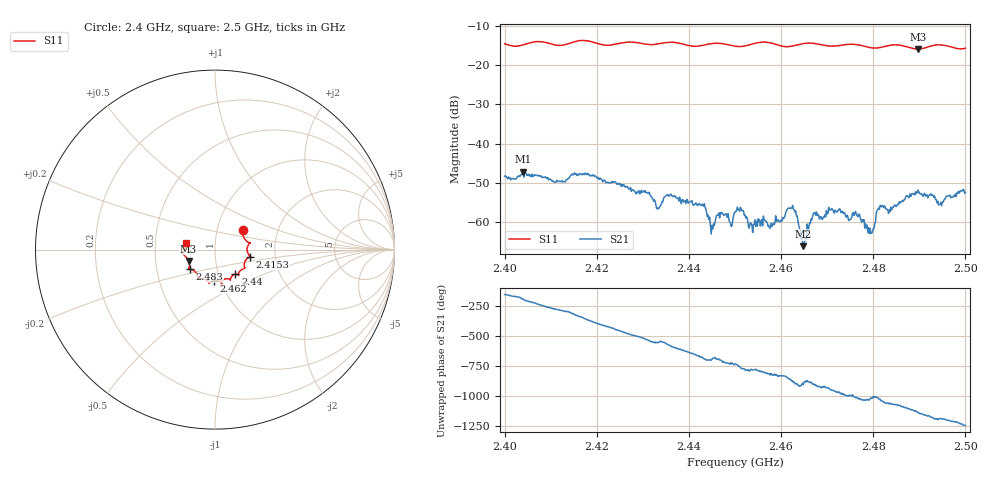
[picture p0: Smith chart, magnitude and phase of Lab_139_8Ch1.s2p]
# Hz S RI R 50
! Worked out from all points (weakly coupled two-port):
!   601 points, 2.4 GHz to 2.5 GHz, reference 50 ohm
!   highest |S21| = -47.09 dB at 2.404 GHz (marker M1); lowest = -66.1 dB at 2.4648 GHz (marker M2)
!   lowest |S11| = -15.9 dB at 2.4897 GHz (marker M3), VSWR 1.38, Z = 36.9 - j4.81 ohm
!   |S11| at or under -10 dB: start of sweep to end of sweep
!   S12 and S22 are empty: the file has one direction only
!   S11 on the Smith chart (normalised r, x): 2.4 GHz: 1.33, +0.29; 2.4153 GHz: 1.48, -0.12; 2.44 GHz: 1.21, -0.34; 2.462 GHz: 0.93, -0.33; 2.483 GHz: 0.74, -0.17; 2.5 GHz: 0.72, +0.06
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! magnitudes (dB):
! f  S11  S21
! 2.4 GHz  -14.5  -48.3
! 2.404 GHz  -14.8  -47.1
! 2.4153 GHz  -14.0  -47.8
! 2.4167 GHz  -13.7  -47.7
! 2.4333 GHz  -14.6  -56.6
! 2.4357 GHz  -14.2  -53.4
! 2.44 GHz  -15.0  -55.0
! 2.4432 GHz  -14.9  -55.9
! 2.4452 GHz  -14.5  -61.7
! 2.45 GHz  -15.1  -57.5
! 2.4577 GHz  -14.3  -61.4
! 2.462 GHz  -15.2  -56.4
! 2.4648 GHz  -14.5  -66.1
! 2.4667 GHz  -14.4  -59.4
! 2.476 GHz  -14.7  -57.6
! 2.4793 GHz  -15.5  -61.6
! 2.4812 GHz  -15.6  -56.4
! 2.483 GHz  -15.1  -56.7
! 2.4833 GHz  -15.0  -57.8
! 2.4897 GHz  -15.9  -51.8
! 2.4947 GHz  -14.8  -54.9
! 2.5 GHz  -15.7  -52.4
